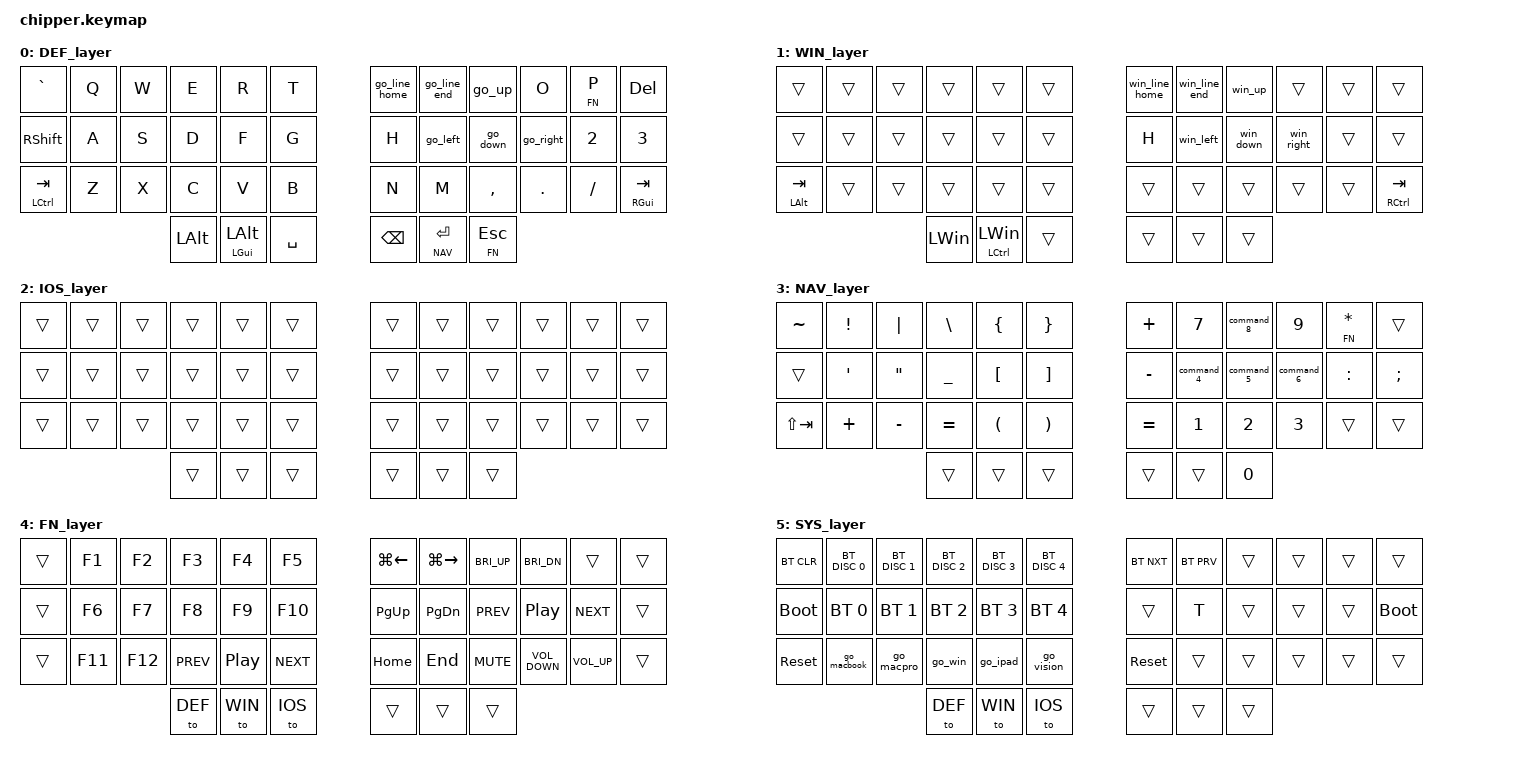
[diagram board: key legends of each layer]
#include <behaviors.dtsi>
#include <dt-bindings/zmk/keys.h>
#include <dt-bindings/zmk/bt.h>
#include <dt-bindings/zmk/outputs.h>

/* map 6 extra keys */
#define X_LT  &kp TAB
#define X_LM  &kp LSHIFT
#define X_LB  &none
#define X_RT  &kp LEFT_BRACKET
#define X_RM  &kp RETURN
#define X_RB  &dancetonav

#define XXX &none
#define ___ &trans

#define COMBO_TIMEOUT 100

#define DEF 0
#define WIN 1
#define IOS 2
#define NAV 3
#define FN 4
#define SYS 5

// 设置图层切换风格, 默认是轻触优先, 我这里改成按住优先就可以
&lt {
    flavor = "hold-preferred";
    tapping-term-ms = <200>;
    require-prior-idle-ms = <125>;  // 也就差说如果我在按下A键125ms内按下这个键, 轻触行为会生效
};

&mt {
    flavor = "hold-preferred";
    tapping-term-ms = <200>;
};


/ {
    conditional_layers {
        compatible = "zmk,conditional-layers";
        tri_layer {
            if-layers = <3 4>;
            then-layer = <5>;
        };
    };
};

/ {
    combos {
        compatible = "zmk,combos";
        combo_sys_layer {
            timeout-ms = <50>;
            key-positions = <0 1 2>;  // 左上角三个键的组合
            bindings = <&kp B>;       // 
        };        
    };
};


/ {
    behaviors {

        mk_tap: mk_tap {
            compatible = "zmk,behavior-hold-tap";
            #binding-cells = <2>;
            flavor = "tap-preferred";
            tapping-term-ms = <200>;
            bindings = <&kp>, <&kp>;
        };

        mt_hold: mt_hold {
            compatible = "zmk,behavior-hold-tap";
            #binding-cells = <2>;
            flavor = "hold-preferred";
            tapping-term-ms = <200>;
            bindings = <&kp>, <&kp>;
        };

        lgui_hold: lgui_hold {
            compatible = "zmk,behavior-hold-tap";
            #binding-cells = <2>;
            flavor = "hold-preferred";
            tapping-term-ms = <300>;
            // quick-tap-ms = <200>; // 如果在200毫秒内再次按下这个键, 则直接出发两次这个键
            // retro-tap;  // 如果按了之后没有按其他键, 直接松开了, 则触发短按功能 
            hold-while-undecided;  // 如果按住之后, 立刻按其他键了, 则直接触发长按功能
            // hold-while-undecided-linger;
            bindings = <&kp>, <&kp>;
        };
        
    layer_tap: layer_tap {
            compatible = "zmk,behavior-hold-tap";
            #binding-cells = <2>;
            flavor = "tap-preferred";
            tapping-term-ms = <200>;
            quick-tap-ms = <200>; // 如果在200毫秒内再次按下删除键, 则直接触发删除键
            // require-prior-idle-ms = <125>;   // 如果在按下之后的125ms内按下了其他的非修饰键, 例如f键, 则直接触发删除键功能
            retro-tap;  // 如果按了之后没有按其他键, 直接松开了, 则触发删除键功能
            // hold-while-undecided;  // 按下后立即触发换层功能, 除非什么也不按直接松开, 否则都是按住功能
            bindings = <&mo>, <&kp>;
        };


        layer_hold: layer_hold {
            compatible = "zmk,behavior-hold-tap";
            #binding-cells = <2>;
            flavor = "hold-preferred";
            tapping-term-ms = <300>;
            quick-tap-ms = <200>; // 如果在200毫秒内再次按下删除键, 则直接触发删除键
            require-prior-idle-ms = <125>;   // 如果在按下之前的125ms内按下了其他的非修饰键, 例如f键, 则直接触发删除键功能
            // retro-tap;  // 如果按了之后没有按其他键, 直接松开了, 则触发删除键功能
            hold-while-undecided;  // 按下后立即触发换层功能, 除非什么也不按直接松开, 否则都是按住功能
            bindings = <&mo>, <&kp>;
        };

        go_up: go_up {
            compatible = "zmk,behavior-mod-morph";
            #binding-cells = <0>;
            bindings = <&kp I>, <&kp UP_ARROW>;
            mods = <(MOD_LGUI|MOD_RGUI)>;
        };

        go_down: go_down {
            compatible = "zmk,behavior-mod-morph";
            #binding-cells = <0>;
            bindings = <&kp K>, <&kp DOWN_ARROW>;
            mods = <(MOD_LGUI|MOD_RGUI)>;
        };

        go_right: go_right {
            compatible = "zmk,behavior-mod-morph";
            #binding-cells = <0>;
            bindings = <&kp L>, <&kp RIGHT_ARROW>;
            mods = <(MOD_LGUI|MOD_RGUI)>;
        };

        go_left: go_left {
            compatible = "zmk,behavior-mod-morph";
            #binding-cells = <0>;
            bindings = <&kp J>, <&kp LEFT_ARROW>;
            mods = <(MOD_LGUI|MOD_RGUI)>;
        };

        go_page_up: go_page_up {
            compatible = "zmk,behavior-mod-morph";
            #binding-cells = <0>;
            bindings = <&kp Y>, <&kp PAGE_UP>;
            mods = <(MOD_LGUI|MOD_RGUI)>;
        };

        go_page_down: go_page_down {
            compatible = "zmk,behavior-mod-morph";
            #binding-cells = <0>;
            bindings = <&kp H>, <&kp PAGE_DOWN>;
            mods = <(MOD_LGUI|MOD_RGUI)>;
        };

        go_line_home: go_line_home {
            compatible = "zmk,behavior-mod-morph";
            #binding-cells = <0>;
            bindings = <&kp Y>, <&kp LG(LEFT_ARROW)>;
            mods = <(MOD_LGUI|MOD_RGUI)>;
        };

        go_line_end: go_line_end {
            compatible = "zmk,behavior-mod-morph";
            #binding-cells = <0>;
            bindings = <&kp U>, <&kp LG(RIGHT_ARROW)>;
            mods = <(MOD_LGUI|MOD_RGUI)>;
        };

        // win方向快捷键设置
        win_up: win_up {
            compatible = "zmk,behavior-mod-morph";
            #binding-cells = <0>;
            bindings = <&kp I>, <&kp UP_ARROW>;
            mods = <(MOD_LCTL|MOD_RCTL)>;
        };

        win_down: win_down {
            compatible = "zmk,behavior-mod-morph";
            #binding-cells = <0>;
            bindings = <&kp K>, <&kp DOWN_ARROW>;
            mods = <(MOD_LCTL|MOD_RCTL)>;
        };

        win_right: win_right {
            compatible = "zmk,behavior-mod-morph";
            #binding-cells = <0>;
            bindings = <&kp L>, <&kp RIGHT_ARROW>;
            mods = <(MOD_LCTL|MOD_RCTL)>;
        };

        win_left: win_left {
            compatible = "zmk,behavior-mod-morph";
            #binding-cells = <0>;
            bindings = <&kp J>, <&kp LEFT_ARROW>;
            mods = <(MOD_LCTL|MOD_RCTL)>;
        };

        win_page_up: win_page_up {
            compatible = "zmk,behavior-mod-morph";
            #binding-cells = <0>;
            bindings = <&kp Y>, <&kp PAGE_UP>;
            mods = <(MOD_LCTL|MOD_RCTL)>;
        };

        win_page_down: win_page_down {
            compatible = "zmk,behavior-mod-morph";
            #binding-cells = <0>;
            bindings = <&kp H>, <&kp PAGE_DOWN>;
            mods = <(MOD_LCTL|MOD_RCTL)>;
        };

        win_line_home: win_line_home {
            compatible = "zmk,behavior-mod-morph";
            #binding-cells = <0>;
            bindings = <&kp Y>, <&kp LG(LEFT_ARROW)>;
            mods = <(MOD_LCTL|MOD_RCTL)>;
        };

        win_line_end: win_line_end {
            compatible = "zmk,behavior-mod-morph";
            #binding-cells = <0>;
            bindings = <&kp U>, <&kp LG(RIGHT_ARROW)>;
            mods = <(MOD_LCTL|MOD_RCTL)>;
        };
    };
};


/ {
    behaviors {
        command_4: command_4 {
            compatible = "zmk,behavior-mod-morph";
            #binding-cells = <0>;
            bindings = <&kp NUMBER_4>, <&kp LG(LEFT_ARROW)>;
            mods = <(MOD_LGUI|MOD_RGUI)>;
        };

        command_8: command_8 {
            compatible = "zmk,behavior-mod-morph";
            #binding-cells = <0>;
            bindings = <&kp NUMBER_8>, <&kp LG(UP_ARROW)>;
            mods = <(MOD_LGUI|MOD_RGUI)>;
        };

        command_5: command_5 {
            compatible = "zmk,behavior-mod-morph";
            #binding-cells = <0>;
            bindings = <&kp NUMBER_5>, <&kp LG(DOWN_ARROW)>;
            mods = <(MOD_LGUI|MOD_RGUI)>;
        };

        command_6: command_6 {
            compatible = "zmk,behavior-mod-morph";
            #binding-cells = <0>;
            bindings = <&kp NUMBER_6>, <&kp LG(RIGHT_ARROW)>;
            mods = <(MOD_LGUI|MOD_RGUI)>;
        };

    };
};


/ {
    macros {

        tab_page_two: tab_page_two {
            compatible = "zmk,behavior-macro";
            #binding-cells = <0>;
            bindings
                = <&macro_press &kp LGUI>
                , <&macro_wait_time 100>
                , <&macro_tap &kp TAB>
                , <&macro_wait_time 100>
                , <&macro_tap &kp TAB>
                , <&macro_wait_time 100>
                , <&macro_release &kp LGUI>
                ;
        };

        go_macbook: go_macbook {
            compatible = "zmk,behavior-macro";
            #binding-cells = <0>;
            bindings
                = <&bt BT_SEL 0>
                , <&to 0>
                ;
        };

        go_macpro: go_macpro {
            compatible = "zmk,behavior-macro";
            #binding-cells = <0>;
            bindings
                = <&bt BT_SEL 1>
                , <&to 0>
                ;
        };

        go_win: go_win {
            compatible = "zmk,behavior-macro";
            #binding-cells = <0>;
            bindings
                = <&bt BT_SEL 2>
                , <&to 1>
                ;
        };

        go_ipad: go_ipad {
            compatible = "zmk,behavior-macro";
            #binding-cells = <0>;
            bindings
                = <&bt BT_SEL 3>
                , <&to 2>
                ;
        };

       go_vision: go_vision {
            compatible = "zmk,behavior-macro";
            #binding-cells = <0>;
            bindings
                = <&bt BT_SEL 4>
                , <&to 2>
                ;
        };
        
    };
};


// 下面是Notion快捷键

/ {
    behaviors {

        notion_h1: notion_h1 {
            compatible = "zmk,behavior-mod-morph";
            #binding-cells = <0>;
            bindings = <&kp A>, <&kp LG(LA(NUMBER_1))>;
            mods = <(MOD_LALT)>;
        };

        notion_h2: notion_h2 {
            compatible = "zmk,behavior-mod-morph";
            #binding-cells = <0>;
            bindings = <&kp S>, <&kp LG(LA(NUMBER_2))>;
            mods = <(MOD_LALT)>;
        };

        notion_h3: notion_h3 {
            compatible = "zmk,behavior-mod-morph";
            #binding-cells = <0>;
            bindings = <&kp D>, <&kp LG(LA(NUMBER_3))>;
            mods = <(MOD_LALT)>;
        };

        notion_h0: notion_h0 {
            compatible = "zmk,behavior-mod-morph";
            #binding-cells = <0>;
            bindings = <&kp F>, <&kp LG(LA(NUMBER_0))>;
            mods = <(MOD_LALT)>;
        };
    };
};


/ {
    behaviors {
        LGUI_tab: LGUI_tab {
                compatible = "zmk,behavior-mod-morph";
                #binding-cells = <0>;
                bindings = <&kp LGUI>, <&kp LS(TAB)>;
                mods = <(MOD_LSFT)>;
        };

        LCTL_tab: LCTL_tab {
                compatible = "zmk,behavior-mod-morph";
                #binding-cells = <0>;
                bindings = <&kp LCTL>, <&kp LS(TAB)>;
                mods = <(MOD_LSFT)>;
        };

        


        tonav: tonav {
            compatible = "zmk,behavior-mod-morph";
            #binding-cells = <0>;
            bindings = <&none>, <&tog NAV>;
            mods = <(MOD_LALT)>;
        };

        dancetonav: dancetonav {
            compatible = "zmk,behavior-tap-dance";
            #binding-cells = <0>;
            tapping-term-ms = <200>;
            bindings = <&kp RCTRL>, <&tog NAV>;
        };

        dancetonav_win: dancetonav_win {
            compatible = "zmk,behavior-tap-dance";
            #binding-cells = <0>;
            tapping-term-ms = <200>;
            bindings = <&kp RALT>, <&tog NAV>;
        };

        dance_tilde: dance_tilde {
            compatible = "zmk,behavior-tap-dance";
            #binding-cells = <0>;
            tapping-term-ms = <200>;
            bindings = <&none>, <&kp TILDE>;
        };
    };
};


/ {
    behaviors {

        td0: tap_dance_0 {
            compatible = "zmk,behavior-tap-dance";
            #binding-cells = <0>;
            tapping-term-ms = <200>;
            bindings = <&kp N1>, <&kp N2>, <&kp N3>;
        };

        dance_LBRC: dance_LBRC {
            compatible = "zmk,behavior-tap-dance";
            #binding-cells = <0>;
            tapping-term-ms = <400>;
            bindings = <&kp RS(LBKT)>, <&kp RS(RBKT)>;
        };

        dance_LPAR: dance_LPAR {
            compatible = "zmk,behavior-tap-dance";
            #binding-cells = <0>;
            tapping-term-ms = <400>;
            bindings = <&kp RS(N9)>, <&kp RS(N0)>;
        };

        dance_LBKT: dance_LBKT {
            compatible = "zmk,behavior-tap-dance";
            #binding-cells = <0>;
            tapping-term-ms = <400>;
            bindings = <&kp LBKT>, <&kp RBKT>;
        };

        dance_COLON: dance_COLON {
            compatible = "zmk,behavior-tap-dance";
            #binding-cells = <0>;
            tapping-term-ms = <400>;
            bindings = <&kp RS(SEMICOLON)>, <&kp SEMICOLON>;
        };

        dance_PIPE: dance_PIPE {
            compatible = "zmk,behavior-tap-dance";
            #binding-cells = <0>;
            tapping-term-ms = <400>;
            bindings = <&kp RS(BACKSLASH)>, <&kp BACKSLASH>;
        };

        dance_GRAVE: dance_GRAVE {
            compatible = "zmk,behavior-tap-dance";
            #binding-cells = <0>;
            tapping-term-ms = <400>;
            bindings = <&kp GRAVE>, <&kp TILDE>;
        };
    };
};


/ {
        keymap {
                compatible = "zmk,keymap";

DEF_layer {
                        bindings = <
//╭──────╮ ╭─────────────┬─────────────┬─────────────┬─────────────┬─────────────╮           ╭─────────────┬─────────────┬─────────────┬─────────────┬─────────────╮ ╭──────╮
  &kp GRAVE   &kp Q        &kp W         &kp E         &kp R          &kp T                   &go_line_home   &go_line_end    &go_up      &kp O     &layer_tap FN P  &kp DELETE
//├──────┤ ├─────────────┼─────────────┼─────────────┼─────────────┼─────────────┤           ├─────────────┼─────────────┼─────────────┼─────────────┼─────────────┤ ├──────┤
  &kp RSHIFT  &kp A         &kp S          &kp D        &kp F         &kp G                     &kp H         &go_left      &go_down     &go_right   &kp NUMBER_2   &kp NUMBER_3
//├──────┤ ├─────────────┼─────────────┼─────────────┼─────────────┼─────────────┤           ├─────────────┼─────────────┼─────────────┼─────────────┼─────────────┤ ├──────┤
  &mt LCTL TAB &kp Z        &kp X         &kp C        &kp V        &kp B                      &kp N           &kp M        &kp COMMA      &kp DOT      &kp SLASH    &mt_hold RGUI TAB
//├──────┤ ╰─────────────┼─────────────┴─────────────┼─────────────┼─────────────┤           ├─────────────┼─────────────┼─────────────┴───────────────────────────╯ ├──────┤
                                         &kp LALT     &lgui_hold LGUI LALT  &kp SPC            &kp BACKSPACE  &layer_hold NAV ENTER  &layer_hold FN ESC
//                                     ╰────────────┼──────────────┴─────────────╯           ╰─────────────┴─────────────┼─────────────╯
                        >;
                };

WIN_layer {

                        bindings = <
//╭──────╮ ╭─────────────┬─────────────┬─────────────┬─────────────┬─────────────╮         ╭─────────────┬─────────────┬─────────────┬─────────────┬─────────────╮ ╭──────╮
    ___       ___            ___           ___             ___           ___               &win_line_home   &win_line_end    &win_up           ___         ___          ___
//├──────┤ ├─────────────┼─────────────┼─────────────┼─────────────┼─────────────┤         ├─────────────┼─────────────┼─────────────┼─────────────┼─────────────┤ ├──────┤
    ___       ___            ___           ___             ___           ___                 &kp H          &win_left     &win_down     &win_right         ___           ___
//├──────┤ ├─────────────┼─────────────┼─────────────┼─────────────┼─────────────┤         ├─────────────┼─────────────┼─────────────┼─────────────┼─────────────┤ ├──────┤
  &mt LALT TAB  ___            ___          ___           ___           ___                     ___            ___          ___              ___         ___       &mk_tap RCTRL TAB
//├──────┤ ╰─────────────┼─────────────┴─────────────┼─────────────┼─────────────┤         ├─────────────┼─────────────┼─────────────┴───────────────────────────╯ ├──────┤
                                          &kp LWIN    &lgui_hold LCTL LWIN   ___                ___             ___        ___   
//                                     ╰─────────────┴─────────────┴─────────────╯         ╰─────────────┴─────────────┼─────────────╯
                        >;
		};

IOS_layer {

                        bindings = <
//╭──────╮ ╭─────────────┬─────────────┬─────────────┬─────────────┬─────────────╮ ╭─────────────┬─────────────┬─────────────┬─────────────┬─────────────╮ ╭──────╮
    ___       ___            ___           ___          ___             ___            ___            ___          ___            ___         ___          ___
//├──────┤ ├─────────────┼─────────────┼─────────────┼─────────────┼─────────────┤ ├─────────────┼─────────────┼─────────────┼─────────────┼─────────────┤ ├──────┤
    ___      ___            ___           ___          ___             ___            ___            ___          ___              ___         ___           ___
//├──────┤ ├─────────────┼─────────────┼─────────────┼─────────────┼─────────────┤ ├─────────────┼─────────────┼─────────────┼─────────────┼─────────────┤ ├──────┤
    ___      ___            ___           ___          ___             ___            ___            ___          ___              ___         ___         ___
//├──────┤ ╰─────────────┼─────────────┴─────────────┼─────────────┼─────────────┤ ├─────────────┼─────────────┼─────────────┴───────────────────────────╯ ├──────┤
                                         ___           ___           ___                ___           ___          ___
//                                     ╰─────────────┴─────────────┴─────────────╯ ╰─────────────┴─────────────┼─────────────╯
                        >;
		};


 NAV_layer {
                        bindings = <
//╭──────╮ ╭─────────────┬─────────────┬────────────────────┬───────────────────────┬──────────────────╮        ╭─────────────┬─────────────┬─────────────┬─────────────┬─────────────╮ ╭──────╮
  &kp TILDE  &kp EXCLAMATION  &kp PIPE      &kp BACKSLASH          &kp LBRC              &kp RBRC                  &kp PLUS   &kp NUMBER_7  &command_8   &kp NUMBER_9  &layer_tap FN ASTERISK  ___
//├──────┤ ├─────────────┼─────────────┼────────────────────┼───────────────────────┼──────────────────┤        ├─────────────┼─────────────┼─────────────┼─────────────┼─────────────┤ ├──────┤
    ___   &kp SINGLE_QUOTE &kp DOUBLE_QUOTES  &kp UNDERSCORE       &kp LBKT              &kp RBKT                  &kp MINUS    &command_4   &command_5     &command_6    &kp COLON     &kp SEMICOLON
//├──────┤ ├─────────────┼─────────────┼────────────────────┼───────────────────────┼──────────────────┤        ├─────────────┼─────────────┼─────────────┼─────────────┼─────────────┤ ├──────┤
  &kp LS(TAB)  &kp PLUS     &kp MINUS     &kp EQUAL               &kp LPAR              &kp RPAR                  &kp EQUAL    &kp NUMBER_1  &kp NUMBER_2   &kp NUMBER_3      ___        ___
//├──────┤ ╰─────────────┼─────────────┴────────────────────┼───────────────────────┼──────────────────┤        ├─────────────┼─────────────┼─────────────┴───────────────────────────╯ ├──────┤
                                                      ___           ___          ___                                 ___           ___        &kp NUMBER_0
//                                               ╰────────────┼──────────────┴─────────────╯                    ╰─────────────┴─────────────┼─────────────╯
                        >;
                };


FN_layer {

                        bindings = <
//╭──────╮ ╭─────────────┬─────────────┬─────────────┬─────────────┬─────────────╮ ╭────────────────┬────────────────────┬────────────────────┬───────────────────────┬─────────────╮ ╭──────╮
    ___     &kp F1        &kp F2         &kp F3        &kp F4       &kp F5        &kp LG(LEFT_ARROW)  &kp LG(RIGHT_ARROW)    &kp C_BRI_UP          &kp C_BRI_DN            ___          ___
//├──────┤ ├─────────────┼─────────────┼─────────────┼─────────────┼─────────────┤ ├────────────────┼────────────────────┼────────────────────┼───────────────────────┼─────────────┤ ├──────┤
    ___     &kp F6       &kp F7        &kp F8          &kp F9       &kp F10          &kp PAGE_UP       &kp PAGE_DOWN        &kp C_PREV          &kp C_PLAY_PAUSE          &kp C_NEXT     ___
//├──────┤ ├─────────────┼─────────────┼─────────────┼─────────────┼─────────────┤ ├────────────────┼────────────────────┼────────────────────┼───────────────────────┼─────────────┤ ├──────┤
    ___     &kp F11       &kp F12        &kp C_PREV  &kp C_PLAY_PAUSE  &kp C_NEXT      &kp HOME            &kp END           &kp C_MUTE          &kp C_VOLUME_DOWN      &kp C_VOL_UP    ___
//├──────┤ ╰─────────────┼─────────────┴─────────────┼─────────────┼─────────────┤ ├────────────────┼────────────────────┼────────────────────┼───────────────────────┼─────────────┤ ├──────┤
                                            &to DEF        &to WIN     &to IOS           ___           ___           ___
//                                     ╰─────────────┴─────────────┴─────────────╯ ╰─────────────┴─────────────┴─────────────╯
                        >;
		};


SYS_layer {

                        bindings = <
//╭──────╮ ╭─────────────┬─────────────┬─────────────┬─────────────┬─────────────╮        ╭─────────────┬─────────────┬─────────────┬─────────────┬─────────────╮ ╭──────╮
  &bt BT_CLR  &bt BT_DISC 0  &bt BT_DISC 1 &bt BT_DISC 2 &bt BT_DISC 3 &bt BT_DISC 4          &bt BT_NXT   &bt BT_PRV      ___           ___           ___       ___
//├──────┤ ├─────────────┼─────────────┼─────────────┼─────────────┼─────────────┤        ├─────────────┼─────────────┼─────────────┼─────────────┼─────────────┤ ├──────┤
  &bootloader &bt BT_SEL 0  &bt BT_SEL 1  &bt BT_SEL 2  &bt BT_SEL 3  &bt BT_SEL 4            ___            &kp T          ___           ___           ___         &bootloader
//├──────┤ ├─────────────┼─────────────┼─────────────┼─────────────┼─────────────┤        ├─────────────┼─────────────┼─────────────┼─────────────┼─────────────┤ ├──────┤
  &sys_reset  &go_macbook   &go_macpro       &go_win     &go_ipad      &go_vision             &sys_reset    ___           ___           ___           ___           ___
//├──────┤ ╰─────────────┼─────────────┴─────────────┼─────────────┼─────────────┤        ├─────────────┼─────────────┼─────────────┴───────────────────────────╯ ├──────┤
                                            &to DEF        &to WIN     &to IOS                ___           ___             ___
//                                      ╰─────────────┴────────────┴─────────────╯        ╰─────────────┴──────────────┴─────────────╯
                        >;
		};
        };
};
